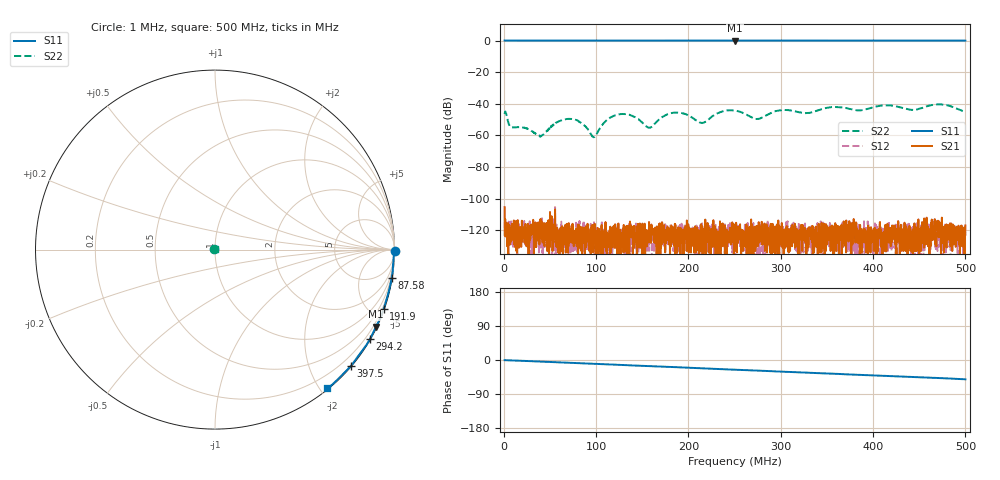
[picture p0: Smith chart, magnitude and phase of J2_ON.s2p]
! MS46122B
! 1746301/73750021
! 8/7/2023 2:52:14 PM
! C:\USERS\SPEGWAL\DOWNLOADS\SAURABH\REACH\NODES\FRONT END\MEASUREMENTS\MEASURED S-PARAMETER_07-08-2023\MS-3\P2_J4\J2_ON.S2P
! CHANNEL.1
! TR.MEASUREMENT
! CORRECTED.DATA
# GHZ S RI R 50.0
! FREQ.GHZ  S11RE  S11IM  S21RE  S21IM  S12RE  S12IM  S22RE  S22IM
!; PortSelection: Port_12
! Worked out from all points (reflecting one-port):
!   2001 points, 1 MHz to 500 MHz, reference 50 ohm
!   lowest |S11| = 0.0 dB at 250.5 MHz (marker M1), VSWR 349.15, Z = 2.91 - j220 ohm
!   phase of S11 starts at -0 deg and turns -51 deg over the sweep
!   S11 on the Smith chart (normalised r, x): 1 MHz: open; 87.58 MHz: 0, -13; 191.9 MHz: 0.05, -5.83; 294.2 MHz: 0.02, -3.73; 397.5 MHz: 0.01, -2.71; 500 MHz: 0.01, -2.10
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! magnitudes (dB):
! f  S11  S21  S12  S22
! 1 MHz  0.0  -105.3  -114.8  -46.4
! 8.236 MHz  0.0  -122.8  -115.9  -54.7
! 39.17 MHz  0.0  -123.0  -131.0  -60.2
! 63.87 MHz  0.0  -118.7  -124.9  -50.1
! 84.33 MHz  0.0  -120.9  -124.0  -52.2
! 87.58 MHz  0.0  -118.4  -120.1  -53.7
! 97.81 MHz  0.0  -123.9  -114.8  -61.1
! 123.3 MHz  0.0  -123.0  -118.3  -46.8
! 139.2 MHz  0.0  -117.7  -119.6  -47.6
! 157.2 MHz  0.0  -122.4  -121.9  -55.2
! 167.4 MHz  0.0  -126.0  -118.6  -50.3
! 191.9 MHz  0.0  -121.7  -123.1  -45.7
! 215.1 MHz  0.0  -117.4  -119.8  -52.2
! 250.5 MHz  0.0  -130.0  -140.0  -44.3
! 274 MHz  0.0  -118.3  -121.0  -49.6
! 294.2 MHz  0.0  -140.0  -127.7  -44.7
! 333.8 MHz  0.0  -119.0  -126.0  -45.4
! 397.5 MHz  0.0  -121.3  -120.5  -42.7
! 416.9 MHz  0.0  -121.4  -120.5  -41.0
! 443.6 MHz  0.0  -120.1  -126.0  -43.9
! 475.3 MHz  0.0  -118.6  -122.8  -40.5
! 500 MHz  0.0  -116.9  -123.5  -45.0
